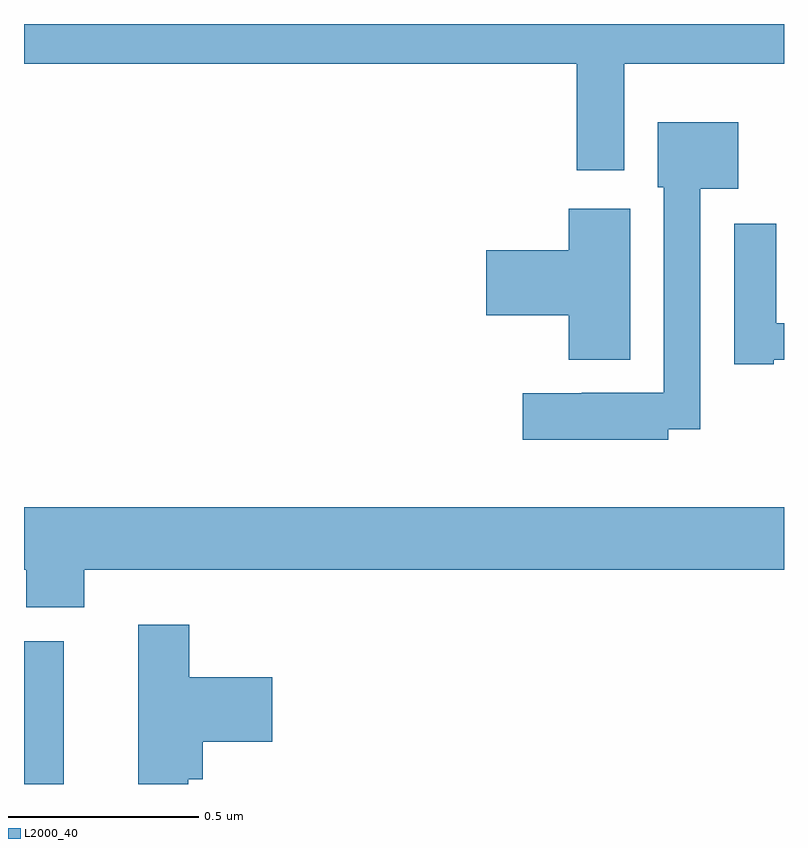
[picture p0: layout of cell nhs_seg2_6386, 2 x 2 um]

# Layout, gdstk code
import gdstk
lib = gdstk.Library(unit=1e-6, precision=1e-09)
def R(c, l, rs):  # rectangles x0, y0, x1, y1
    for r in rs: c.add(gdstk.rectangle(r[:2], r[2:], *l))
def P(c, l, *ps):  # polygons
    for p in ps: c.add(gdstk.Polygon(p, *l))
L2000_40 = (2000, 40)

nhs_seg2_6386 = lib.new_cell('nhs_seg2_6386')
R(nhs_seg2_6386, L2000_40, [(191,585.8,191.104,586.176)])
P(nhs_seg2_6386, L2000_40, [(192.58,587.696),(193,587.696),(193,587.8),(191,587.8),(191,587.696),(192.455,587.696),(192.455,587.415),(192.58,587.415)],
  [(192.696,586.733),(192.78,586.733),(192.78,587.366),(192.88,587.366),(192.88,587.542),(192.668,587.542),(192.668,587.37),(192.684,587.37),(192.684,586.83),(192.468,586.83),(192.468,586.828),(192.312,586.828),(192.312,586.706),(192.696,586.706)],
  [(192.595,587.314),(192.434,587.314),(192.434,587.204),(192.216,587.204),(192.216,587.033),(192.434,587.033),(192.434,586.916),(192.595,586.916)],
  [(192.973,586.917),(193,586.917),(193,587.013),(192.979,587.013),(192.979,587.275),(192.869,587.275),(192.869,586.905),(192.973,586.905)],
  [(191.159,586.364),(193,586.364),(193,586.528),(191,586.528),(191,586.364),(191.006,586.364),(191.006,586.265),(191.159,586.265)],
  [(191.432,585.812),(191.471,585.812),(191.471,585.911),(191.653,585.911),(191.653,586.081),(191.435,586.081),(191.435,586.219),(191.3,586.219),(191.3,585.8),(191.432,585.8)])

lib.write_gds('nhs_seg2_6386.gds')
